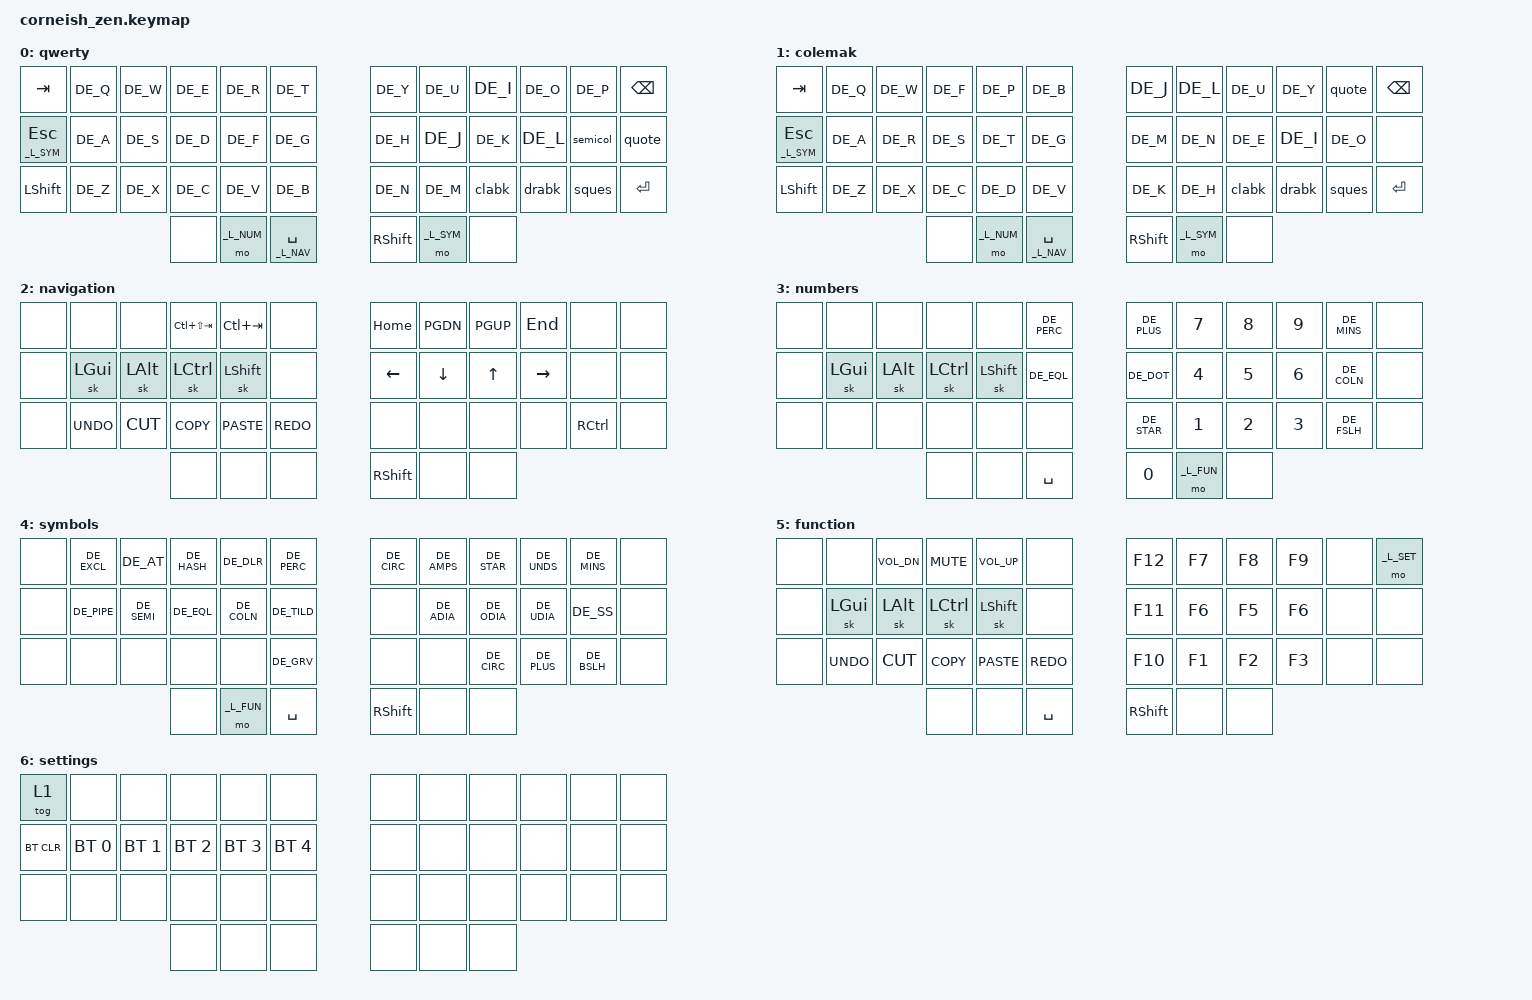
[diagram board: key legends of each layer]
#include "keymap_german.h"
#include "mod_morphs.dtsi"

#define _L_QWE 0
#define _L_COL 1

#define _L_NAV 2
#define _L_NUM 3
#define _L_SYM 4
#define _L_FUN 5
#define _L_SET 6

#define C_TAB LC(TAB)
#define CS_TAB LC(LS(TAB))
#define C_COPY LC(DE_C)
#define C_CUT LC(DE_X)
#define C_PASTE LC(DE_V)
#define C_UNDO LC(DE_Z)
#define C_REDO LC(DE_Y)

/*sticky keys = one shot mod*/
&sk {
    release-after-ms = <2000>;
    quick-release;
    /delete-property/ ignore-modifiers;
};

/ {
  chosen {
    zmk,matrix_transform = &default_transform;
  };
};

/ {
keymap {
        compatible = "zmk,keymap";

qwerty_layer {
    label = "qwerty";
// -----------------------------------------------------------------------------------------
// | ESC  |  Q  |  W  |  E  |  R  |  T  |#########|  Y  |  U  |  I  |  O  |  P  | BKSP |
// | SHFT |  A  |  S  |  D  |  F  |  G  |#########|  H  |  J  |  K  |  L  |  ;  |  '   |
// | TAB  |  Z  |  X  |  C  |  V  |  B  |#########|  N  |  M  |  ,  |  .  |  /  | RET  |
//                    |     |L_NUM|nav_spc|#######|SHFT |L_SYM|     |
bindings = <
   &kp TAB        &kp DE_Q &kp DE_W &kp DE_E &kp DE_R &kp DE_T               &kp DE_Y &kp DE_U  &kp DE_I  &kp DE_O   &kp DE_P    &kp BSPC
   &lt _L_SYM ESC &kp DE_A &kp DE_S &kp DE_D &kp DE_F &kp DE_G               &kp DE_H &kp DE_J  &kp DE_K  &kp DE_L   &semicol    &quote
   &kp LSHFT      &kp DE_Z &kp DE_X &kp DE_C &kp DE_V &kp DE_B               &kp DE_N &kp DE_M  &clabk    &drabk     &sques      &kp ENTER
                               &none    &mo _L_NUM &lt _L_NAV SPACE     &kp RSHFT &mo _L_SYM &none
>;
};


colemak_layer {
    label = "colemak";
// -----------------------------------------------------------------------------------------
// |  TAB |  Q  |  W  |  F  |  P  |  B  |#########|  J  |  L  |  U  |  Y  |  '  | BKSP |
// | CTRL |  A  |  R  |  S  |  T  |  G  |#########|  M  |  N  |  E  |  I  |  O  | SHFT |
// | SHFT |  Z  |  X  |  C  |  D  |  V  |#########|  K  |  H  |  ,  |  .  |  /  | ESC  |
//                    |     |L_NUM|nav_spc|#######|SHFT |L_SYM|     |
bindings = <
   &kp TAB        &kp DE_Q &kp DE_W &kp DE_F &kp DE_P &kp DE_B               &kp DE_J &kp DE_L  &kp DE_U  &kp DE_Y   &quote    &kp BSPC
   &lt _L_SYM ESC &kp DE_A &kp DE_R &kp DE_S &kp DE_T &kp DE_G               &kp DE_M &kp DE_N  &kp DE_E  &kp DE_I   &kp DE_O  &none
   &kp LSHFT      &kp DE_Z &kp DE_X &kp DE_C &kp DE_D &kp DE_V               &kp DE_K &kp DE_H  &clabk    &drabk     &sques    &kp ENTER
                               &none    &mo _L_NUM &lt _L_NAV SPACE     &kp RSHFT &mo _L_SYM &none
>;
};


navigation_layer {
    label = "navigation";
// -----------------------------------------------------------------------------------------
// |     |     |     |CS_TAB|C_TAB|    |#########| home| pgdn| pgup| end |     |     |
// |     | gui | alt | ctl | sft |     |#########| left| down|  up |right|     |     |
// |     | undo| cut | copy|paste| redo|#########|     |     |     |     |     | ctrl|
//                   |     |     |+++++|#########| shft|     |     |
bindings = <
   &none &none      &none     &kp CS_TAB &kp C_TAB   &none          &kp HOME  &kp PGDN &kp PGUP &kp END   &none     &none
   &none &sk LGUI   &sk LALT  &sk LCTRL  &sk LSHFT   &none          &kp LEFT  &kp DOWN &kp UP   &kp RIGHT &none     &none
   &none &kp K_UNDO &kp K_CUT &kp K_COPY &kp K_PASTE &kp K_REDO     &none     &none    &none    &none     &kp RCTRL &none
                              &none      &none       &none          &kp RSHFT &none   &none
>;
};

numbers_layer {
    label = "numbers";
// -----------------------------------------------------------------------------------------
// |     |     |     |     |     |  %  |#########|  +  |  7  |  8  |  9  |  -  |     |
// |     | gui | alt | ctl | sft |  =  |#########|  .  |  4  |  5  |  6  |  :  |     |
// |     |     |     |     |     |     |#########|  *  |  1  |  2  |  3  |  /  | ctrl|
//                   |     |+++++|space|#########|  0  |L_FUN|     |
bindings = <
   &none    &none       &none       &none       &none       &kp DE_PERC     &kp DE_PLUS &kp N7     &kp N8 &kp N9 &kp DE_MINS &none
   &none    &sk LGUI    &sk LALT    &sk LCTRL   &sk LSHFT   &kp DE_EQL      &kp DE_DOT  &kp N4     &kp N5 &kp N6 &kp DE_COLN &none
   &none    &none       &none       &none       &none       &none           &kp DE_STAR &kp N1     &kp N2 &kp N3 &kp DE_FSLH &none
                                    &none       &none       &kp SPACE       &kp N0      &mo _L_FUN &none
>;
};

symbols_layer {
    label = "symbols";
// -----------------------------------------------------------------------------------------
// |     |  !  |  @  |  #  |  $  |  %  |#########|  ^  |  &  |  *  |  _  |  -  |     |
// |     |  |  |  ;  |  =  |  :  |  ~  |#########|     |  ä  |  ö  |  ü  |  ß  |     |
// |     |     |     |     |     |  `  |#########|     |     |  ^  |  +  |  \  |     |
//                   |     |L_FUN|space|#########| sft |+++++|     |
bindings = <
   &none   &kp DE_EXCL &kp DE_AT   &kp DE_HASH &kp DE_DLR  &kp DE_PERC      &kp DE_CIRC &kp DE_AMPS &kp DE_STAR &kp DE_UNDS &kp DE_MINS &none
   &none   &kp DE_PIPE &kp DE_SEMI &kp DE_EQL  &kp DE_COLN &kp DE_TILD      &none       &kp DE_ADIA &kp DE_ODIA &kp DE_UDIA &kp DE_SS   &none
   &none   &none       &none       &none       &none       &kp DE_GRV       &none       &none       &kp DE_CIRC &kp DE_PLUS &kp DE_BSLH &none
                                   &none       &mo _L_FUN  &kp SPACE        &kp RSHFT   &none       &none
>;
};

function_layer {
    label = "function";
// -----------------------------------------------------------------------------------------
// |     |     |voldn| mute|volup|     |#########| f12 |  f7 |  f8 |  f9 |     |L_SET|
// |     | gui | alt | ctl | sft |     |#########| f11 |  f4 |  f5 |  f6 |     |     |
// |     | undo| cut | copy|paste| redo|#########| f10 |  f1 |  f2 |  f3 |     |     |
//                   |     |+++++|space|#########| sft |+++++|     |
bindings = <
   &none   &none      &kp C_VOL_DN &kp C_MUTE &kp C_VOL_UP &none        &kp F12     &kp F7   &kp F8  &kp F9  &none   &mo _L_SET
   &none   &sk LGUI   &sk LALT     &sk LCTRL  &sk LSHFT    &none        &kp F11     &kp F6   &kp F5  &kp F6  &none   &none
   &none   &kp K_UNDO &kp K_CUT    &kp K_COPY &kp K_PASTE  &kp K_REDO   &kp F10     &kp F1   &kp F2  &kp F3  &none   &none
                                   &none      &none        &kp SPACE    &kp RSHFT   &none  &none
    >;
};

settings_layer {
    label = "settings";
// -----------------------------------------------------------------------------------------
// |toggl|     |     |     |     |     |#########|     |     |     |     |     |+++++|
// |btclr| bt_0| bt_1| bt_2| bt_3| bt_4|#########|     |     |     |     |     |     |
// |     |     |     |     |     |     |#########|     |     |     |     |     |     |
//                   |     |+++++|     |#########|     |+++++|     |
bindings = <
   &tog 1     &none        &none        &none        &none        &none           &none    &none    &none   &none   &none   &none
   &bt BT_CLR &bt BT_SEL 0 &bt BT_SEL 1 &bt BT_SEL 2 &bt BT_SEL 3 &bt BT_SEL 4    &none    &none    &none   &none   &none   &none
   &none      &none        &none        &none        &none        &none           &none    &none    &none   &none   &none   &none
                                        &none        &none        &none           &none    &none    &none
>;
};

/*
template_layer {
    label = "TEMPLATE";
// -----------------------------------------------------------------------------------------
// |  TAB |  Q  |  W  |  F  |  P  |  B  |  #  |  J  |  L  |  U  |  Y  |  '  | BKSP |
// | CTRL |  A  |  R  |  S  |  T  |  G  |  #  |  M  |  N  |  E  |  I  |  O  | SHFT |
// | SHFT |  Z  |  X  |  C  |  D  |  V  |  #  |  K  |  H  |  ,  |  .  |  /  | ESC  |
//                    | GUI | LWR | SPC |  #  | ENT | RSE | ALT |
                        bindings = <
   &none   &none   &none   &none    &none    &none              &none    &none    &none   &none   &none   &none
   &none   &none   &none   &none    &none    &none              &none    &none    &none   &none   &none   &none
   &none   &none   &none   &none    &none    &none              &none    &none    &none   &none   &none   &none
                           &none    &none    &none              &none    &none    &none
>;
};
*/
};
};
